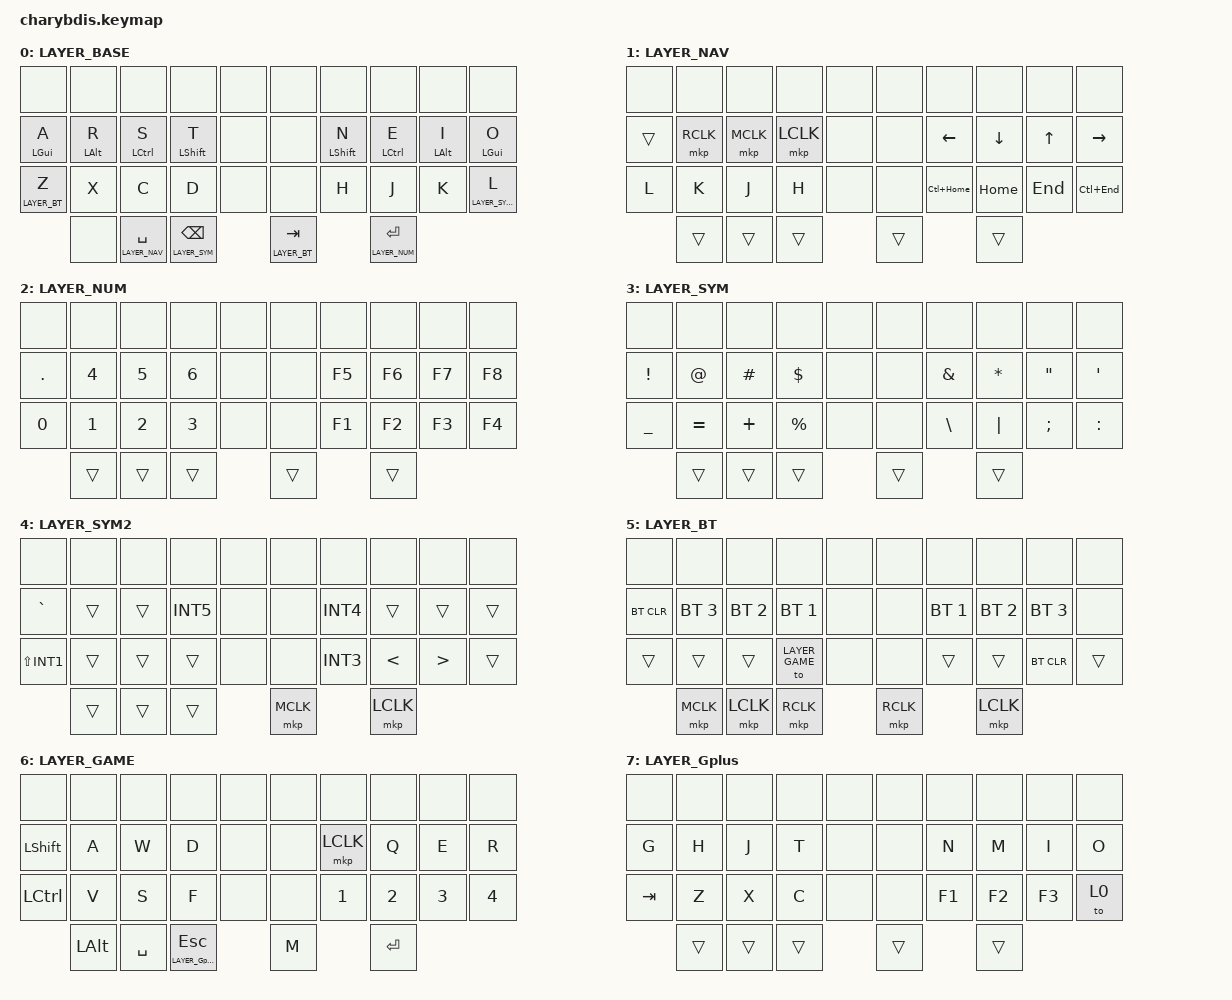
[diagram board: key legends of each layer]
#include <behaviors.dtsi>
#include <dt-bindings/zmk/bt.h>
#include <dt-bindings/zmk/keys.h>
#include <dt-bindings/zmk/outputs.h>
#include <dt-bindings/zmk/mouse.h>
// LAYERS

#define LAYER_BASE  0
#define LAYER_NAV   1
#define LAYER_NUM   2
#define LAYER_SYM   3
#define LAYER_SYM2  4
#define LAYER_BT    5
#define LAYER_GAME  6
#define LAYER_Gplus 7

// MACROS
// CONFIGRATION
#define COMBO(NAME, LAYER, TIMEOUT, KEYPOS) \
    combo_##NAME { \
        layers = <LAYER>; \
        timeout-ms = <TIMEOUT>; \
        key-positions = <KEYPOS>; \
        bindings = <&kp NAME>; \
    };

&lt {
    flavor = "tap-preferred";
    tapping-term-ms = <200>;
    quick-tap-ms = <0>;
};

// define timeout for some functions
//#if !defined TIMEOUT_COMBO_2
//#define TIMEOUT_COMBO_2 175
//#endif
//#if !defined TIMEOUT_COMBO_3
//#define TIMEOUT_COMBO_3 200
//#endif
//#if !defined TIMEOUT_LAYER_HOLD
//#define TIMEOUT_LAYER_HOLD 200
//#endif
// homerow and combos

/ {
    chosen {
        zmk,matrix_transform = &five_column_transform;
    };
};
/ {
    behaviors {
        hm: homerow_mods {
            compatible = "zmk,behavior-hold-tap";
            label = "homerow_mods";
            #binding-cells = <2>;
            tapping-term-ms = <240>;
            quick_tap_ms = <0>;
            flavor = "tap-preferred";
            bindings = <&kp>, <&kp>;
        };
    };

    combos {
        compatible = "zmk,combos";

        COMBO(Q, 0, 55, 10 20)
        COMBO(W, 0, 55, 11 21)
        COMBO(F, 0, 55, 11 12)
        COMBO(P, 0, 45, 12 13)
        COMBO(ESC, 0, 50, 20 21)
        COMBO(B, 0, 55, 21 22)
        COMBO(G, 0, 50, 13 23)
        COMBO(V, 0, 60, 22 23)
        COMBO(U, 0, 50, 16 26)
        COMBO(Y, 0, 60, 18 28)
        COMBO(MINUS, 0, 50, 18 19)
        COMBO(M, 0, 50, 26 27)
        COMBO(COMMA, 0, 35, 16 18) 
        COMBO(DOT, 0, 35, 17 18)
        COMBO(FSLH, 0, 35, 26 28)
        COMBO(CAPS, 0, 50, 28 29)
        COMBO(DEL, 0, 50, 16 19)
        // COMBO(ENTER, 0, 50, 26 27)
        COMBO(F9, 2, 50, 18 19)
        COMBO(F10, 2, 50, 26 27)
        COMBO(F11, 2, 50, 27 28)
        COMBO(F12, 2, 50, 28 29)
        COMBO(N7, 2, 50, 11 21)
        COMBO(N8, 2, 50, 11 13)
        COMBO(N9, 2, 50, 13 23)
        COMBO(LPAR, 3, 50, 12 13)
        COMBO(RPAR, 3, 50, 16 17)
        COMBO(LBKT, 3, 50, 22 23)
        COMBO(RBKT, 3, 50, 26 27)
        COMBO(LBRC, 3, 50, 13 23)
        COMBO(RBRC, 2, 50, 16 26)
    };

    keymap {
        compatible = "zmk,keymap";

        base_layer {
            label = "LAYER_BASE";
            bindings = <
&none           &none       &none         &none         &none    &none  &none         &none       &none       &none      
&hm LGUI A      &hm LALT R  &hm LCTRL S   &hm LSHIFT T  &none    &none  &hm LSHIFT N  &hm LCTRL E &hm LALT I  &hm LGUI O
&lt LAYER_BT Z  &kp X       &kp C                &kp D  &none    &none  &kp H         &kp J       &kp K       &lt LAYER_SYM2 L
          &none  &lt LAYER_NAV SPACE  &lt LAYER_SYM BACKSPACE    &lt LAYER_BT TAB     &lt LAYER_NUM ENTER
            >;

            trackball-bindings = <&tmv_coarse>;
        };

        nav_layer {
            label = "LAYER_NAV";
            bindings = <
&none     &none      &none     &none        &none    &none     &none           &none     &none     &none      
&trans    &mkp RCLK  &mkp MCLK &mkp LCLK    &none    &none     &kp LEFT        &kp DOWN  &kp UP    &kp RIGHT
&kp L     &kp K      &kp J     &kp H        &none    &none     &kp LC(HOME)    &kp HOME  &kp END   &kp LC(END)
                     &trans    &trans       &trans   &trans    &trans
            >;
        };

        number_layer {
            label = "LAYER_NUM";
            bindings = <
&none    &none   &none   &none  &none    &none     &none    &none     &none       &none      
&kp DOT  &kp N4  &kp N5  &kp N6 &none    &none     &kp F5   &kp F6    &kp F7      &kp F8
&kp N0   &kp N1  &kp N2  &kp N3 &none    &none     &kp F1   &kp F2    &kp F3      &kp F4
                 &trans  &trans &trans   &trans  &trans
            >;
        };

        symbol_layer {
            label = "LAYER_SYM";
            bindings = <
&none      &none      &none     &none      &none    &none     &none     &none     &none     &none      
&kp EXCL   &kp AT     &kp HASH  &kp DLLR   &none    &none     &kp AMPS  &kp STAR  &kp DQT   &kp SQT
&kp UNDER  &kp EQUAL  &kp PLUS  &kp PRCNT  &none    &none     &kp BSLH  &kp PIPE  &kp SEMI  &kp COLON
                      &trans    &trans     &trans   &trans    &trans
            >;
        };

        symbol2_layer {
            label = "LAYER_SYM2";
            bindings = <
&none         &none  &none   &none     &none    &none      &none     &none           &none             &none      
&kp GRAVE     &trans &trans  &kp INT5  &none    &none      &kp INT4  &trans          &trans            &trans
&kp LS(INT1)  &trans &trans  &trans    &none    &none      &kp INT3  &kp LESS_THAN   &kp GREATER_THAN  &trans
                     &trans  &trans    &trans   &mkp MCLK  &mkp LCLK
            >;
            trackball-bindings = <&tsl>;
        };

        bt_layer {
            label = "LAYER_BT";
            bindings = <
&none       &none         &none         &none           &none    &none     &none         &none         &none         &none      
&bt BT_CLR  &bt BT_SEL 3  &bt BT_SEL 2  &bt BT_SEL 1    &none    &none     &bt BT_SEL 1  &bt BT_SEL 2  &bt BT_SEL 3  &none
&trans      &trans        &trans        &to LAYER_GAME  &none    &none     &trans        &trans        &bt BT_CLR    &trans
            &mkp MCLK     &mkp LCLK     &mkp RCLK       &mkp RCLK  &mkp LCLK
            >;
            trackball-bindings = <&tsl_fine>;
        };

        game_layer {
            label = "LAYER_GAME";
            bindings = <
&none      &none  &none      &none  &none              &none     &none       &none   &none   &none      
&kp LSHFT  &kp A  &kp W      &kp D  &none              &none     &mkp LCLK   &kp Q   &kp E   &kp R
&kp LCTRL  &kp V  &kp S      &kp F  &none              &none     &kp N1      &kp N2  &kp N3  &kp N4
        &kp LALT  &kp SPACE  &lt LAYER_Gplus ESC       &kp M   &kp ENTER
            >;
        };

        game+_layer {
            label = "LAYER_Gplus";
            bindings = <
&none    &none   &none   &none     &none      &none   &none   &none   &none   &none      
&kp G    &kp H   &kp J   &kp T     &none      &none   &kp N   &kp M   &kp I   &kp O
&kp TAB  &kp Z   &kp X   &kp C     &none      &none   &kp F1  &kp F2  &kp F3  &to 0
                 &trans  &trans    &trans     &trans  &trans
            >;
        };
    };
};


// #include <behaviors.dtsi>
// #include <dt-bindings/zmk/mouse.h>
// #include <dt-bindings/zmk/keys.h>
// #include <dt-bindings/zmk/bt.h>
// #include <dt-bindings/zmk/outputs.h>
// 
// // LAYERS
// #define COL 0
// #define NAV 1
// #define NUM 2
// #define MOU 3
// 
// // MACROS
// #define U_UNDO  LG(Z)
// #define U_CUT   LG(X)
// #define U_COPY  LG(C)
// #define U_PSTE  LG(V)
// #define U_REDO  LS(LG(Z))
// #define U_CLIP  LC(LG(C))
// #define U_SHOT  LS(LG(N4))
// 
// // CONFIGURATION
// #define COMBO(NAME, KEYPOS) \
//   combo_##NAME { \
//       timeout-ms = <40>; \
//       key-positions = <KEYPOS>; \
//       bindings = <&kp NAME>; \
//   };
// 
// &lt {
//   flavor = "tap-preferred";
//   tapping-term-ms = <200>;
//   quick-tap-ms = <0>;
// };
// 
// &caps_word {
//   continue-list = <UNDERSCORE MINUS>;
// };
// 
// / {
//   chosen {
//     zmk,matrix_transform = &five_column_transform;
//   };
// };
// 
// // KEYMAP
// / {
//     behaviors {
//       hm: homerow_mods {
//         compatible = "zmk,behavior-hold-tap";
//         label = "HOMEROW_MODS";
//         #binding-cells = <2>;
//         tapping-term-ms = <200>;
//         quick_tap_ms = <0>;
//         flavor = "tap-preferred";
//         bindings = <&kp>, <&kp>;
//       };
//     };
//     
//     combos {
//       compatible = "zmk,combos";
//       
//       // Left-hand combos
//       COMBO(AT_SIGN, 1 2)
//       COMBO(LEFT_BRACE, 2 3)
//       COMBO(EXCLAMATION, 1 11)
//       COMBO(HASH, 2 12)
//       COMBO(DOLLAR, 3 13)
//       COMBO(GRAVE, 10 11)
//       COMBO(COLON, 11 12)
//       COMBO(LEFT_PARENTHESIS, 12 13)
//       COMBO(PERCENT, 11 21)
//       COMBO(CARET, 12 22)
//       COMBO(AMPERSAND, 13 23)
//       COMBO(TILDE, 20 21)
//       COMBO(SEMICOLON, 21 22)
//       COMBO(LEFT_BRACKET, 22 23) 
// 
//       // Right-hand combos
//       COMBO(RIGHT_BRACE, 6 7)
//       COMBO(DOUBLE_QUOTES, 7 8)
//       COMBO(EQUAL, 6 16)
//       COMBO(PIPE, 7 17)
//       COMBO(BACKSLASH, 8 18)
//       COMBO(RIGHT_PARENTHESIS, 16 17)
//       COMBO(MINUS, 17 18)
//       COMBO(KP_PLUS, 18 19)
//       COMBO(ASTERISK, 16 26)
//       COMBO(LESS_THAN, 17 27)
//       COMBO(GREATER_THAN, 18 28)
//       COMBO(RIGHT_BRACKET, 26 27)
//       COMBO(UNDERSCORE, 27 28)
//       COMBO(QUESTION, 28 29)
//     };
// 
//     keymap {
//         compatible = "zmk,keymap";
// 
//         col_layer {
//             label = "COLMAK";
//             bindings = <
//             &kp Q       &kp W       &kp F       &kp P         &kp B       &kp J     &kp L        &kp U       &kp Y       &kp SQT
//             &hm LGUI A  &hm LALT R  &hm LCTRL S &hm LSHFT T   &kp G       &kp M     &hm LSHFT N  &hm LCTRL E &hm LALT I  &hm LGUI O
//             &lt MOU Z   &kp X       &kp C       &kp D         &kp V       &kp K     &kp H        &kp COMMA   &kp DOT     &lt MOU FSLH
//                                     &kp ESC     &lt NAV SPACE &kp BSPC    &kp TAB   &lt NUM RET
//             >;
//             trackball-bindings = <&tmv_coarse>;
//         };
// 
//         nav_layer {
//             label = "ARROWS";
//             bindings = <
//             &kp LG(N1) &kp LG(N2) &kp LG(N3) &kp LG(N4) &kp LG(N5)     &caps_word &kp HOME   &kp PG_DN    &kp PG_UP    &kp END
//             &kp LGUI   &mkp RCLK  &mkp MCLK  &mkp LCLK  &kp U_CLIP     &kp U_SHOT &kp LEFT   &kp DOWN     &kp UP       &kp RIGHT
//             &kp U_UNDO &kp U_CUT  &kp U_COPY &kp U_PSTE &kp U_REDO     &kp C_PP   &kp C_PREV &kp C_VOL_DN &kp C_VOL_UP &kp C_NEXT
//                                   &none      &none      &none          &kp RET    &kp BSPC   
//             >;
//         };
// 
//         num_layer {
//             label = "NUMPAD";
//             bindings = <
//             &bt BT_SEL 0 &kp F9 &kp F10 &kp F11   &kp F12     &kp EQUAL  &kp N7 &kp N8 &kp N9 &kp PLUS
//             &bt BT_SEL 1 &kp F5 &kp F6  &kp F7    &kp F8      &kp ASTRK  &kp N4 &kp N5 &kp N6 &kp MINUS
//             &bt BT_SEL 2 &kp F1 &kp F2  &kp F3    &kp F4      &kp N0     &kp N1 &kp N2 &kp N3 &kp FSLH
//                                 &kp ESC &kp SPACE &kp BSPC    &bt BT_CLR &none  &none
//             >;
//         };
// 
//         mou_layer {
//             label = "MOUSE";
//             bindings = <
//             &trans      &trans    &trans     &trans    &trans       &trans  &trans  &trans  &trans     &trans
//             &kp LGUI    &kp LALT  &kp LCTRL  &kp LSHFT &trans       &trans  &trans  &trans  &trans     &trans
//             &trans      &trans    &trans     &trans    &trans       &trans  &trans  &trans  &trans     &trans
//                                   &mkp RCLK  &mkp LCLK &mkp MCLK    &mkp MCLK  &mkp LCLK
//             >;
//         };
//     };
// };
// 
